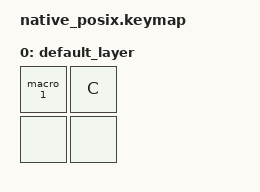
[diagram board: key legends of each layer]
#include <dt-bindings/zmk/keys.h>
#include <behaviors.dtsi>
#include <dt-bindings/zmk/kscan_mock.h>

/ {
	behaviors {
		macro_1: macro_1 {
			compatible = "zmk,behavior-macro";
			label = "MACRO_1";
			#binding-cells = <0>;
			bindings = <&kp A>, <&kp B>;
			mode = "key-down";
		};
	};

	keymap {
		compatible = "zmk,keymap";
		label ="Default keymap";

		default_layer {
			bindings = <
				&macro_1 &kp C
				&none &none
			>;
		};
	};
};


&kscan {
	events = <
		/* press combo */
		ZMK_MOCK_PRESS(0,0,10) 
		/* press and release other key */
		ZMK_MOCK_PRESS(0,1,10)
		ZMK_MOCK_RELEASE(0,1,10)
		/* release combo */
		ZMK_MOCK_RELEASE(0,0,10)
	>;
};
